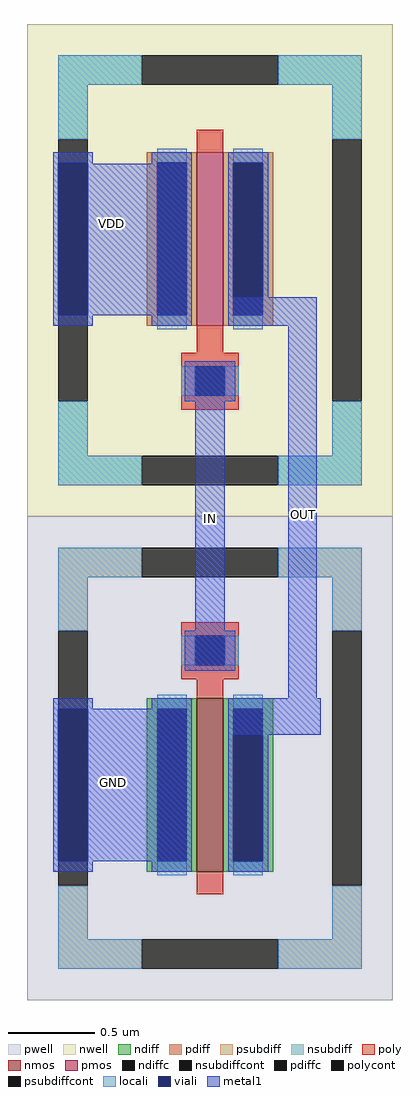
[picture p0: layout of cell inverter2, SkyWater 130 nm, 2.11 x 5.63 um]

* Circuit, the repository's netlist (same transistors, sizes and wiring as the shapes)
** sch_path: /home/muhammadkhairulfattah/icdec_inverter2/inverter2.sch
.subckt inverter2 vdd in out gnd
*.PININFO out:O vdd:I in:I gnd:I
XM1 out in gnd gnd sky130_fd_pr__nfet_01v8 L=0.15 W=1 nf=1 m=1
XM2 out in vdd vdd sky130_fd_pr__pfet_01v8 L=0.15 W=1 nf=1 m=1
.ends
.end

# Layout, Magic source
magic
tech sky130A
magscale 1 2
<< viali >>
rect -17 737 17 913
rect -17 107 17 283
<< metal1 >>
rect -23 913 23 925
rect -23 737 -17 913
rect 17 912 23 913
rect 17 737 131 912
rect -23 725 23 737
rect 179 725 281 758
rect 141 333 175 678
rect 248 295 281 725
rect -23 283 23 295
rect -23 107 -17 283
rect 17 107 131 283
rect 179 253 286 295
rect -23 95 23 107
use sky130_fd_pr__nfet_01v8_64Z3AY  XM1
transform 1 0 158 0 1 226
box -211 -279 211 279
use sky130_fd_pr__pfet_01v8_LGS3BL  XM2
transform 1 0 158 0 1 789
box -211 -284 211 284
<< labels >>
flabel metal1 41 842 47 844 0 FreeSans 160 0 0 0 VDD
port 1 nsew
flabel metal1 47 198 47 198 0 FreeSans 160 0 0 0 GND
port 2 nsew
flabel metal1 159 503 159 503 0 FreeSans 160 0 0 0 IN
port 4 nsew
flabel metal1 266 507 266 507 0 FreeSans 160 0 0 0 OUT
port 6 nsew
<< end >>

# cell sky130_fd_pr__nfet_01v8_64Z3AY: kit device sky130_fd_pr__nfet_01v8, w 1.0 l 0.15 m 1 nf 1 diffcov 100 polycov 100 guard 1 glc 1 grc 1 gtc 1 gbc 1 tbcov 100 rlcov 100 topc 1 botc 0 poverlap 0 doverlap 1 lmin 0.15 wmin 0.42 compatible {sky130_fd_pr__nfet_01v8 sky130_fd_pr__nfet_01v8_lvt sky130_fd_bs_flash__special_sonosfet_star sky130_fd_pr__nfet_g5v0d10v5 sky130_fd_pr__nfet_05v0_nvt sky130_fd_pr__nfet_03v3_nvt} full_metal 1 viasrc 100 viadrn 100 viagate 100 viagb 0 viagr 0 viagl 0 viagt 0

# cell sky130_fd_pr__pfet_01v8_LGS3BL: kit device sky130_fd_pr__pfet_01v8, w 1.0 l 0.15 m 1 nf 1 diffcov 100 polycov 100 guard 1 glc 1 grc 1 gtc 1 gbc 1 tbcov 100 rlcov 100 topc 0 botc 1 poverlap 0 doverlap 1 lmin 0.15 wmin 0.42 compatible {sky130_fd_pr__pfet_01v8 sky130_fd_pr__pfet_01v8_lvt sky130_fd_pr__pfet_01v8_hvt sky130_fd_pr__pfet_g5v0d10v5} full_metal 1 viasrc 100 viadrn 100 viagate 100 viagb 0 viagr 0 viagl 0 viagt 0
